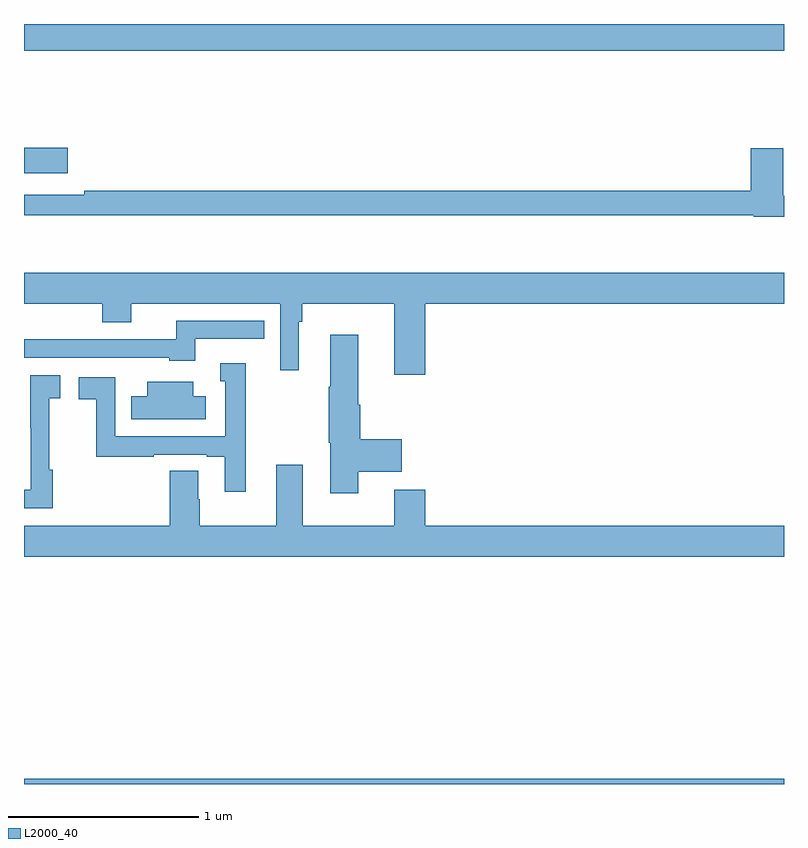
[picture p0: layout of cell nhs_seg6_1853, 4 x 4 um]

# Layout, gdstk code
import gdstk
lib = gdstk.Library(unit=1e-6, precision=1e-09)
def R(c, l, rs):  # rectangles x0, y0, x1, y1
    for r in rs: c.add(gdstk.rectangle(r[:2], r[2:], *l))
def P(c, l, *ps):  # polygons
    for p in ps: c.add(gdstk.Polygon(p, *l))
L2000_40 = (2000, 40)

nhs_seg6_1853 = lib.new_cell('nhs_seg6_1853')
R(nhs_seg6_1853, L2000_40, [(223,919.5,227,919.528), (223,922.715,223.231,922.85), (223,923.36,227,923.5)])
P(nhs_seg6_1853, L2000_40, [(227,922.597),(226.996,922.597),(226.996,922.846),(226.826,922.846),(226.826,922.622),(223.318,922.622),(223.318,922.602),(223,922.602),(223,922.494),(226.842,922.494),(226.842,922.486),(227,922.486)],
  [(225.112,922.028),(227,922.028),(227,922.192),(223,922.192),(223,922.028),(223.412,922.028),(223.412,921.929),(223.564,921.929),(223.564,922.028),(224.349,922.028),(224.349,921.678),(224.446,921.678),(224.446,921.932),(224.465,921.932),(224.465,922.028),(224.948,922.028),(224.948,921.654),(225.112,921.654)],
  [(223.9,921.843),(224.264,921.843),(224.264,921.939),(223.801,921.939),(223.801,921.84),(223.328,921.84),(223.328,921.842),(223,921.842),(223,921.744),(223.764,921.744),(223.764,921.728),(223.9,921.728)],
  [(224.758,921.143),(224.989,921.143),(224.989,921.314),(224.771,921.314),(224.771,921.497),(224.758,921.497),(224.758,921.865),(224.612,921.865),(224.612,921.59),(224.605,921.59),(224.605,921.297),(224.612,921.297),(224.612,921.03),(224.758,921.03)],
  [(224.167,921.715),(224.033,921.715),(224.033,921.621),(224.058,921.621),(224.058,921.33),(223.479,921.33),(223.479,921.642),(223.287,921.642),(223.287,921.526),(223.381,921.526),(223.381,921.222),(223.682,921.222),(223.682,921.234),(223.961,921.234),(223.961,921.222),(224.057,921.222),(224.057,921.039),(224.167,921.039)],
  [(223.151,921.155),(223.134,921.155),(223.134,921.531),(223.192,921.531),(223.192,921.652),(223.034,921.652),(223.034,921.376),(223.035,921.376),(223.035,921.048),(223,921.048),(223,920.952),(223.151,920.952)],
  [(223.957,921.541),(223.891,921.541),(223.891,921.616),(223.649,921.616),(223.649,921.541),(223.564,921.541),(223.564,921.419),(223.957,921.419)],
  [(227,920.86),(225.112,920.86),(225.112,921.049),(224.948,921.049),(224.948,920.86),(224.467,920.86),(224.467,921.181),(224.327,921.181),(224.327,920.86),(223.926,920.86),(223.926,920.999),(223.918,920.999),(223.918,921.149),(223.766,921.149),(223.766,920.86),(223,920.86),(223,920.696),(227,920.696)])

lib.write_gds('nhs_seg6_1853.gds')
